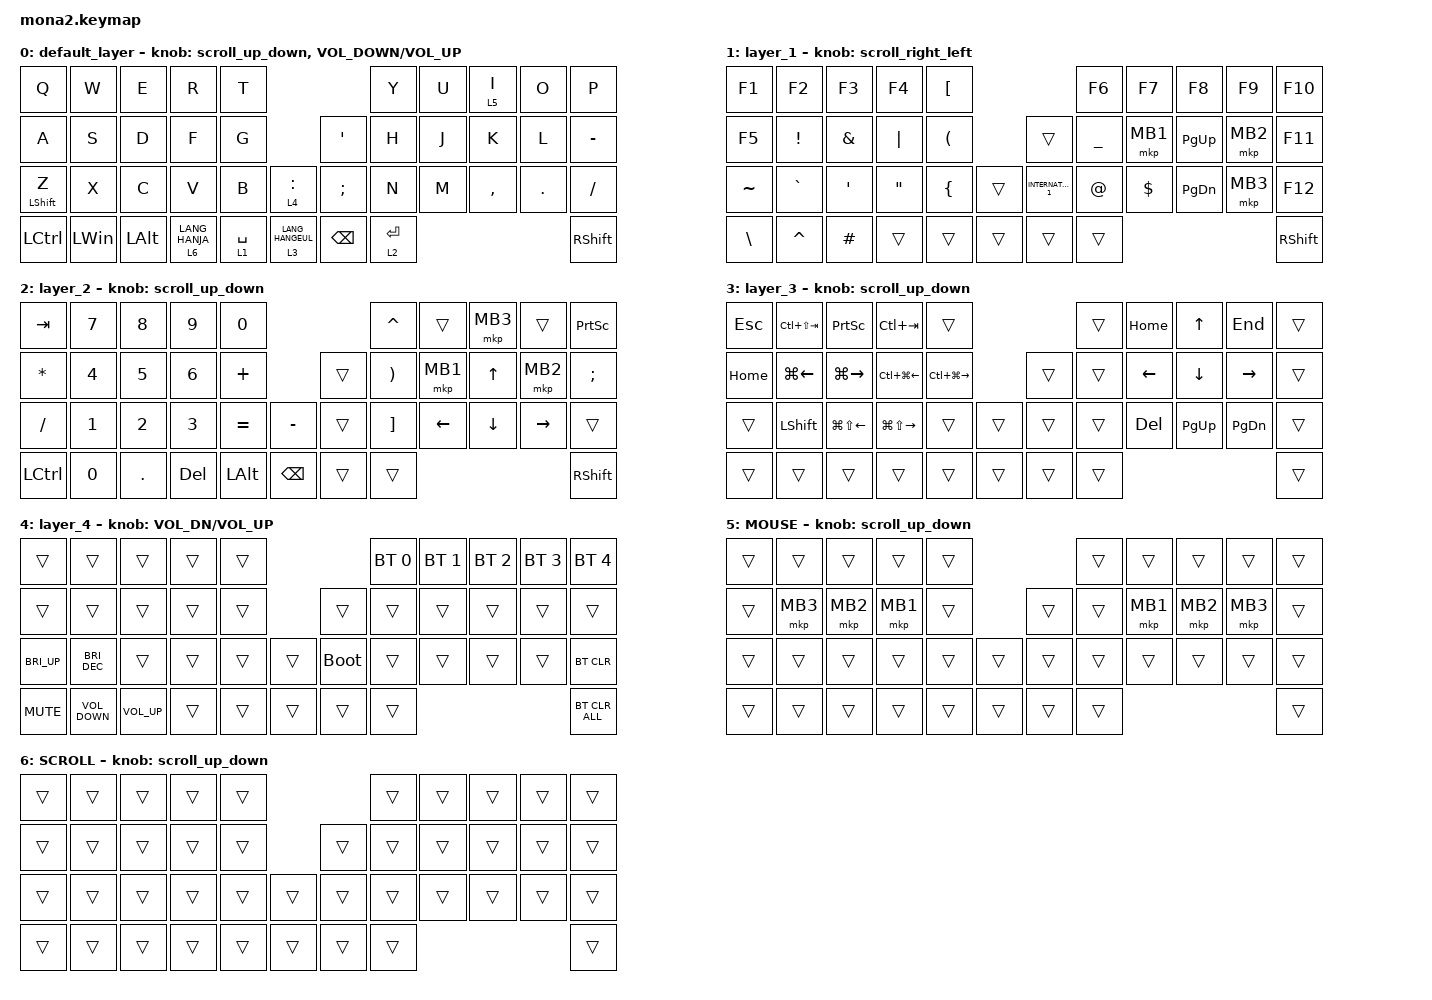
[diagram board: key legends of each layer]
#include <input/processors.dtsi>
#include <dt-bindings/zmk/input_transform.h>
#include <zephyr/dt-bindings/input/input-event-codes.h>
#include <behaviors.dtsi>
#include <dt-bindings/zmk/bt.h>
#include <dt-bindings/zmk/keys.h>
#include <dt-bindings/zmk/pointing.h>

#define ZMK_POINTING_DEFAULT_SCRL_VAL 100
#define MOUSE 5
#define SCROLL 6

&mt {
    flavor = "balanced";
    quick-tap-ms = <0>;
};

&lt {
    quick-tap-ms = <300>;
    flavor = "balanced";
};

/ {
    combos {
        compatible = "zmk,combos";

        layer4_ESC {
            bindings = <&lt 4 ESC>;
            key-positions = <39 38>;
        };

        tab {
            bindings = <&kp TAB>;
            key-positions = <11 12>;
        };
    };

    macros {
        to_layer_0: to_layer_0 {
            compatible = "zmk,behavior-macro-one-param";
            #binding-cells = <1>;
            bindings = <&to 0 &macro_param_1to1 &kp MACRO_PLACEHOLDER>;
            label = "TO_LAYER_0";
        };
    };

    behaviors {
        lt_to_layer_0: lt_to_layer_0 {
            compatible = "zmk,behavior-hold-tap";
            label = "LAYER_TAP_TO_0";
            bindings = <&mo>, <&to_layer_0>;

            #binding-cells = <2>;
            tapping-term-ms = <200>;
        };

        scroll_up_down: mouse_wheel_up_down {
            compatible = "zmk,behavior-sensor-rotate";
            #sensor-binding-cells = <0>;
            bindings = <&msc SCRL_DOWN>, <&msc SCRL_UP>;

            tap-ms = <20>;
        };

        scroll_right_left: mouse_wheel_right_left {
            compatible = "zmk,behavior-sensor-rotate";
            #sensor-binding-cells = <0>;
            bindings = <&msc SCRL_LEFT>, <&msc SCRL_RIGHT>;

            tap-ms = <20>;
        };
    };

    keymap {
        compatible = "zmk,keymap";

        default_layer {
            bindings = <
&kp Q             &kp W         &kp E     &kp R             &kp T                                             &kp Y        &kp U  &lt 5 I    &kp O    &kp P
&kp A             &kp S         &kp D     &kp F             &kp G                              &kp APOS       &kp H        &kp J  &kp K      &kp L    &kp MINUS
&mt LEFT_SHIFT Z  &kp X         &kp C     &kp V             &kp B        &lt 4 COLON           &kp SEMI       &kp N        &kp M  &kp COMMA  &kp DOT  &kp SLASH
&kp LCTRL         &kp LEFT_WIN  &kp LALT  &lt 6 LANG_HANJA  &lt 1 SPACE  &lt 3 LANG_HANGEUL    &kp BACKSPACE  &lt 2 ENTER                             &kp RSHFT
            >;

            sensor-bindings =
                <&scroll_up_down>,
                <&inc_dec_kp C_VOLUME_DOWN C_VOLUME_UP>;
        };

        layer_1 {
            bindings = <
&kp F1         &kp F2     &kp F3         &kp F4    &kp LBKT                                 &kp F6     &kp F7      &kp F8         &kp F9    &kp F10
&kp F5         &kp EXCL   &kp AMPERSAND  &kp PIPE  &kp LPAR            &trans               &kp UNDER  &mkp MB1    &kp PAGE_UP    &mkp MB2  &kp F11
&kp TILDE      &kp GRAVE  &kp APOS       &kp DQT   &kp LBRC  &trans    &kp INTERNATIONAL_1  &kp AT     &kp DOLLAR  &kp PAGE_DOWN  &mkp MB3  &kp F12
&kp BACKSLASH  &kp CARET  &kp HASH       &trans    &trans    &trans    &trans               &trans                                          &kp RSHFT
            >;

            sensor-bindings = <&scroll_right_left>;
        };

        layer_2 {
            bindings = <
&kp TAB           &kp N7  &kp N8      &kp N9   &kp N0                              &kp CARET              &trans          &mkp MB3        &trans           &kp PRINTSCREEN
&kp ASTRK         &kp N4  &kp N5      &kp N6   &kp PLUS                    &trans  &kp RIGHT_PARENTHESIS  &mkp MB1        &kp UP_ARROW    &mkp MB2         &kp SEMI
&kp SLASH         &kp N1  &kp N2      &kp N3   &kp EQUAL  &kp MINUS        &trans  &kp RIGHT_BRACKET      &kp LEFT_ARROW  &kp DOWN_ARROW  &kp RIGHT_ARROW  &trans
&kp LEFT_CONTROL  &kp N0  &kp PERIOD  &kp DEL  &kp LALT   &kp BACKSPACE    &trans  &trans                                                                  &kp RIGHT_SHIFT
            >;

            sensor-bindings = <&scroll_up_down>;
        };

        layer_3 {
            bindings = <
&kp ESCAPE  &kp LC(LS(TAB))     &kp PRINTSCREEN         &kp LC(TAB)              &trans                                     &trans  &kp HOME        &kp UP_ARROW    &kp END          &trans
&kp HOME    &kp LG(LEFT_ARROW)  &kp LG(RIGHT_ARROW)     &kp LC(LG(LEFT_ARROW))   &kp LC(LG(RIGHT_ARROW))            &trans  &trans  &kp LEFT_ARROW  &kp DOWN_ARROW  &kp RIGHT_ARROW  &trans
&trans      &kp LEFT_SHIFT      &kp LG(LS(LEFT_ARROW))  &kp LG(LS(RIGHT_ARROW))  &trans                   &trans    &trans  &trans  &kp DELETE      &kp PAGE_UP     &kp PAGE_DOWN    &trans
&trans      &trans              &trans                  &trans                   &trans                   &trans    &trans  &trans                                                   &trans
            >;

            sensor-bindings = <&scroll_up_down>;
        };

        layer_4 {
            bindings = <
&trans        &trans             &trans           &trans  &trans                         &bt BT_SEL 0  &bt BT_SEL 1  &bt BT_SEL 2  &bt BT_SEL 3  &bt BT_SEL 4
&trans        &trans             &trans           &trans  &trans            &trans       &trans        &trans        &trans        &trans        &trans
&kp C_BRI_UP  &kp C_BRI_DEC      &trans           &trans  &trans  &trans    &bootloader  &trans        &trans        &trans        &trans        &bt BT_CLR
&kp C_MUTE    &kp C_VOLUME_DOWN  &kp C_VOLUME_UP  &trans  &trans  &trans    &trans       &trans                                                  &bt BT_CLR_ALL
            >;

            sensor-bindings = <&inc_dec_kp C_VOL_DN C_VOLUME_UP>;
        };

        MOUSE {
            bindings = <
&trans  &trans    &trans    &trans    &trans                    &trans  &trans    &trans    &trans    &trans
&trans  &mkp MB3  &mkp MB2  &mkp MB1  &trans            &trans  &trans  &mkp MB1  &mkp MB2  &mkp MB3  &trans
&trans  &trans    &trans    &trans    &trans  &trans    &trans  &trans  &trans    &trans    &trans    &trans
&trans  &trans    &trans    &trans    &trans  &trans    &trans  &trans                                &trans
            >;

            sensor-bindings = <&scroll_up_down>;
        };

        SCROLL {
            bindings = <
&trans  &trans  &trans  &trans  &trans                    &trans  &trans  &trans  &trans  &trans
&trans  &trans  &trans  &trans  &trans            &trans  &trans  &trans  &trans  &trans  &trans
&trans  &trans  &trans  &trans  &trans  &trans    &trans  &trans  &trans  &trans  &trans  &trans
&trans  &trans  &trans  &trans  &trans  &trans    &trans  &trans                          &trans
            >;

            sensor-bindings = <&scroll_up_down>;
        };
    };
};
